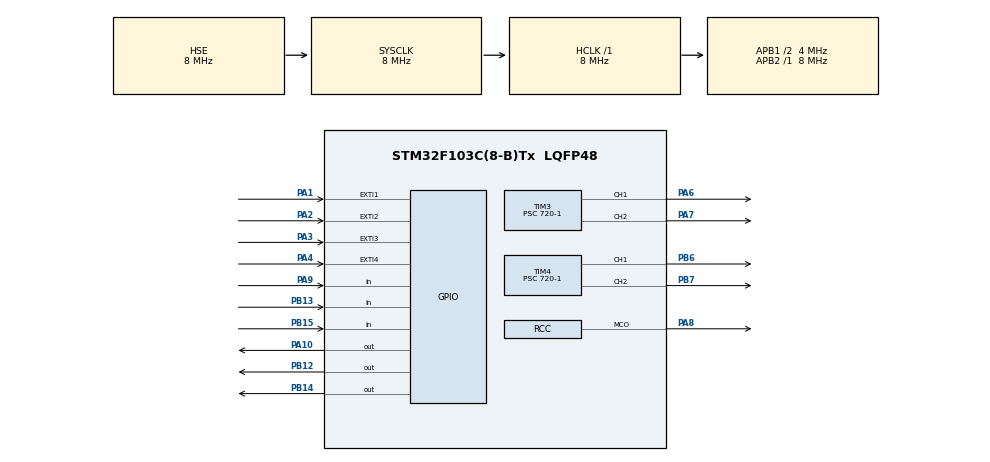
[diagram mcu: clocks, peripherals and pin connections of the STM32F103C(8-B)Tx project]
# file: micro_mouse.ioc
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Mcu.Family=STM32F1
Mcu.Name=STM32F103C(8-B)Tx
Mcu.Package=LQFP48
NVIC.EXTI1_IRQn=true\:0\:0\:false\:false\:true\:true\:true\:true
NVIC.EXTI2_IRQn=true\:0\:0\:false\:false\:true\:true\:true\:true
NVIC.EXTI3_IRQn=true\:0\:0\:false\:false\:true\:true\:true\:true
NVIC.EXTI4_IRQn=true\:0\:0\:false\:false\:true\:true\:true\:true
NVIC.PriorityGroup=NVIC_PRIORITYGROUP_4
PA1.GPIO_PuPd=GPIO_PULLUP
PA1.Signal=GPXTI1
PA10.Signal=GPIO_Output
PA13.Mode=Serial_Wire
PA13.Signal=SYS_JTMS-SWDIO
PA14.Mode=Serial_Wire
PA14.Signal=SYS_JTCK-SWCLK
PA2.GPIO_PuPd=GPIO_PULLUP
PA2.Signal=GPXTI2
PA3.GPIO_PuPd=GPIO_PULLUP
PA3.Signal=GPXTI3
PA4.GPIO_PuPd=GPIO_PULLUP
PA4.Signal=GPXTI4
PA6.Signal=S_TIM3_CH1
PA7.Signal=S_TIM3_CH2
PA8.Mode=Clock-out
PA8.Signal=RCC_MCO
PA9.Signal=GPIO_Input
PB12.Signal=GPIO_Output
PB13.Signal=GPIO_Input
PB14.Signal=GPIO_Output
PB15.Signal=GPIO_Input
PB6.Signal=S_TIM4_CH1
PB7.Signal=S_TIM4_CH2
PD0-OSC_IN.Mode=HSE-External-Oscillator
PD0-OSC_IN.Signal=RCC_OSC_IN
PD1-OSC_OUT.Mode=HSE-External-Oscillator
PD1-OSC_OUT.Signal=RCC_OSC_OUT
ProjectManager.HeapSize=0x200
ProjectManager.StackSize=0x400
ProjectManager.TargetToolchain=STM32CubeIDE
RCC.AHBFreq_Value=8000000
RCC.APB1CLKDivider=RCC_HCLK_DIV2
RCC.APB1Freq_Value=4000000
RCC.APB1TimFreq_Value=8000000
RCC.APB2Freq_Value=8000000
RCC.APB2TimFreq_Value=8000000
RCC.HCLKFreq_Value=8000000
RCC.PLLMUL=RCC_PLL_MUL9
RCC.PLLSourceVirtual=RCC_PLLSOURCE_HSE
RCC.RCC_MCOSource=RCC_MCO1SOURCE_PLLCLK
RCC.SYSCLKFreq_VALUE=8000000
RCC.SYSCLKSource=RCC_SYSCLKSOURCE_HSE
RCC.USBFreq_Value=72000000
SH.S_TIM3_CH1.0=TIM3_CH1,PWM Generation1 CH1
SH.S_TIM3_CH2.0=TIM3_CH2,PWM Generation2 CH2
SH.S_TIM4_CH1.0=TIM4_CH1,PWM Generation1 CH1
SH.S_TIM4_CH2.0=TIM4_CH2,PWM Generation2 CH2
TIM1.Prescaler=720-1
TIM2.Period=100
TIM2.Prescaler=72-1
TIM3.Channel-PWM\ Generation1\ CH1=TIM_CHANNEL_1
TIM3.Channel-PWM\ Generation2\ CH2=TIM_CHANNEL_2
TIM3.Period=1000-1
TIM3.Prescaler=720-1
TIM4.Channel-PWM\ Generation1\ CH1=TIM_CHANNEL_1
TIM4.Channel-PWM\ Generation2\ CH2=TIM_CHANNEL_2
TIM4.Period=1000-1
TIM4.Prescaler=720-1
VP_TIM1_VS_ClockSourceINT.Mode=Internal
VP_TIM2_VS_ClockSourceINT.Mode=Internal
VP_TIM3_VS_ClockSourceINT.Mode=Internal
VP_TIM4_VS_ClockSourceINT.Mode=Internal
board=custom

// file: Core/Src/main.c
/* USER CODE BEGIN Header */
/**
  ******************************************************************************
  * @file           : main.c
  * @brief          : Main program body
  ******************************************************************************
  * @attention
  *
  * Copyright (c) 2024 STMicroelectronics.
  * All rights reserved.
  *
  * This software is licensed under terms that can be found in the LICENSE file
  * in the root directory of this software component.
  * If no LICENSE file comes with this software, it is provided AS-IS.
  *
  ******************************************************************************
  */
/* USER CODE END Header */
#include "main.h"

/* USER CODE BEGIN PTD */

	float error;
	float previous_error;
	float P_part;
	float D_part;
	float I_part;
	float PID_value;

	float errorL;
	float errorR;
	float P_part_L;
	float P_part_R;
	float D_part_L;
	float D_part_R;
	float I_part_L;
	float I_part_R;
	float PID_valueR;
	float PID_valueL;
	float previous_errorR;
	float previous_errorL;

/* USER CODE END PTD */

/* USER CODE BEGIN PD */
#define TRIG_PIN GPIO_PIN_12
#define TRIG_PORT GPIOB
#define ECHO_PIN GPIO_PIN_13
#define ECHO_PORT GPIOB
#define TRIG_PIN_1 GPIO_PIN_10
#define TRIG_PORT_1 GPIOA
#define ECHO_PIN_1 GPIO_PIN_9
#define ECHO_PORT_1 GPIOA
#define TRIG_PIN_2 GPIO_PIN_14
#define TRIG_PORT_2 GPIOB
#define ECHO_PIN_2 GPIO_PIN_15
#define ECHO_PORT_2 GPIOB
#define		MAX_CNT			899
#define 	MIN_CNT			10
//#define ENCODER_PIN_1 GPIO_PIN_1
//#define ENCODER_PIN_1 GPIO_PIN_2
//#define ENCODER_PIN_2 GPIO_PIN_3
//#define ENCODER_PIN_2 GPIO_PIN_4
//#define ENCODER_PORT GPIOA

double 	v_desire=25;
double khoang_cach_giua =5;
double duty_base=1;
/* USER CODE END PD */

/* USER CODE BEGIN PM */
//void turn_right;
//void turn_left;
void Forward (float duty_right, float duty_left);
//void caculate_pid(PID_t *pid);
//void caculate_error( PID_t *pid);
//void caculate_error_encoder( PID_encoder_t *pid_encoder);
//void control_motor(PID_t *pid, PID_encoder_t *pid_encoder);
//void reset_pid(PID_t *pid);
void sensor_right();
void sensor_left();
void sensor_forward();
static void Set_duty(float duty, TIM_HandleTypeDef *htim, int channel);
/* USER CODE END PM */

TIM_HandleTypeDef htim1;
TIM_HandleTypeDef htim2;
TIM_HandleTypeDef htim3;
TIM_HandleTypeDef htim4;

/* USER CODE BEGIN PV */
float Kp;
float Kd;
float Ki;
uint32_t pMillis;
uint32_t Value1 = 0;
uint32_t Value2 = 0;
uint32_t Value3 = 0;
uint32_t Value4 = 0;
uint32_t Value5 = 0;
uint32_t Value6 = 0;
uint16_t Distance  = 0;
uint16_t Distance_1=0;// Distance_left
uint16_t Distance_2=0;// Distance_right
uint16_t Tim_example=0.01;//10ms
double van_toc_R;
double van_toc_L;
int count_R=0;
int count_L=0;
/* USER CODE END PV */

void SystemClock_Config(void);
static void MX_GPIO_Init(void);
static void MX_TIM2_Init(void);
static void MX_TIM3_Init(void);
static void MX_TIM4_Init(void);
static void MX_TIM1_Init(void);

/* USER CODE BEGIN 0 */
//reset pid
/*void reset_pid(PID_t *pid){
	pid->error=0;
	pid->previous_error=0;
	pid->P_part=0;
	pid->I_part=0;
	pid->D_part=0;
}*/
void sensor_right(){
	HAL_GPIO_WritePin(TRIG_PORT, TRIG_PIN, GPIO_PIN_SET);  // pull the TRIG pin HIGH
		      __HAL_TIM_SET_COUNTER(&htim1, 0);
		      while (__HAL_TIM_GET_COUNTER (&htim1) < 10);  // wait for 10 us
		      HAL_GPIO_WritePin(TRIG_PORT, TRIG_PIN, GPIO_PIN_RESET);  // pull the TRIG pin low

		      pMillis = HAL_GetTick(); // used this to avoid infinite while loop  (for timeout)
		      // wait for the echo pin to go high
		      while (!(HAL_GPIO_ReadPin (ECHO_PORT, ECHO_PIN)) && pMillis + 10 >  HAL_GetTick());
		      Value1 = __HAL_TIM_GET_COUNTER (&htim1);

		      pMillis = HAL_GetTick(); // used this to avoid infinite while loop (for timeout)
		      // wait for the echo pin to go low
		      while ((HAL_GPIO_ReadPin (ECHO_PORT, ECHO_PIN)) && pMillis + 50 > HAL_GetTick());
		      Value2 = __HAL_TIM_GET_COUNTER (&htim1);

		      Distance = (Value2-Value1)* 0.034/2;
		     // if ( Distance <= 12 ) led_right=1;
		      //else led_right=0;

}
void sensor_left(){
	HAL_GPIO_WritePin(TRIG_PORT_1, TRIG_PIN_1, GPIO_PIN_SET);  // pull the TRIG pin HIGH
		  	    __HAL_TIM_SET_COUNTER(&htim1, 0);
		  	    while (__HAL_TIM_GET_COUNTER (&htim1) < 10);  // wait for 10 us
		  	    HAL_GPIO_WritePin(TRIG_PORT_1, TRIG_PIN_1, GPIO_PIN_RESET);  // pull the TRIG pin low

		  	    pMillis = HAL_GetTick(); // used this to avoid infinite while loop  (for timeout)
		  	    // wait for the echo pin to go high
		  	    while (!(HAL_GPIO_ReadPin (ECHO_PORT_1, ECHO_PIN_1)) && pMillis + 10 >  HAL_GetTick());
		  	    Value3 = __HAL_TIM_GET_COUNTER (&htim1);

		  	    pMillis = HAL_GetTick(); // used this to avoid infinite while loop (for timeout)
		  	    // wait for the echo pin to go low
		  	    while ((HAL_GPIO_ReadPin (ECHO_PORT_1, ECHO_PIN_1)) && pMillis + 50 > HAL_GetTick());
		  	    Value4 = __HAL_TIM_GET_COUNTER (&htim1);

		  	    Distance_1 = (Value4-Value3)/2/29.412;
		  	   // if (Distance_1 <= 12) led_left=1;
		  	    //else led_left=0;
}
void sensor_forward(){
	 HAL_GPIO_WritePin(TRIG_PORT_2, TRIG_PIN_2, GPIO_PIN_SET);  // pull the TRIG pin HIGH
		  	  	  	    __HAL_TIM_SET_COUNTER(&htim1, 0);
		  	  	  	    while (__HAL_TIM_GET_COUNTER (&htim1) < 10);  // wait for 10 us
		  	  	  	    HAL_GPIO_WritePin(TRIG_PORT_2, TRIG_PIN_2, GPIO_PIN_RESET);  // pull the TRIG pin low

		  	  	  	    pMillis = HAL_GetTick(); // used this to avoid infinite while loop  (for timeout)
		  	  	  	    // wait for the echo pin to go high
		  	  	  	    while (!(HAL_GPIO_ReadPin (ECHO_PORT_2, ECHO_PIN_2)) && pMillis + 10 >  HAL_GetTick());
		  	  	  	    Value5 = __HAL_TIM_GET_COUNTER (&htim1);

		  	  	  	    pMillis = HAL_GetTick(); // used this to avoid infinite while loop (for timeout)
		  	  	  	    // wait for the echo pin to go low
		  	  	  	    while ((HAL_GPIO_ReadPin (ECHO_PORT_2, ECHO_PIN_2)) && pMillis + 50 > HAL_GetTick());
		  	  	  	    Value6 = __HAL_TIM_GET_COUNTER (&htim1);

		  	  	  	   Distance_2 = (Value6-Value5)/2/29.412;
		  	  	  	  // if (Distance_2 <= 12) led_front=1;
		  	  	  	   //else led_front=0;

}
//void caculate_error(PID_t *pid){}
void Init_tim_pwm(){
	HAL_TIM_PWM_Start(&htim3, TIM_CHANNEL_1);
	HAL_TIM_PWM_Start(&htim3, TIM_CHANNEL_2);
	HAL_TIM_PWM_Start(&htim4, TIM_CHANNEL_1);
	HAL_TIM_PWM_Start(&htim4, TIM_CHANNEL_2);
}
void Init_sensor_sound(){
	 HAL_GPIO_WritePin(GPIOB, TRIG_PIN_1, GPIO_PIN_RESET);
	  HAL_GPIO_WritePin(GPIOB, TRIG_PIN_2, GPIO_PIN_RESET);
	    HAL_GPIO_WritePin(TRIG_PORT, TRIG_PIN, GPIO_PIN_RESET);
}
static void Set_duty(float duty, TIM_HandleTypeDef *htim, int channel){
	if (channel == 1){
		htim->Instance->CCR1 =  (duty*MAX_CNT) + MIN_CNT;
	}
	if (channel == 2){
		htim->Instance->CCR2 =  (duty*MAX_CNT) + MIN_CNT;
	}
}

void Forward (float duty_right, float duty_left){
	Set_duty(0, &htim3, 1);
	Set_duty(duty_right, &htim3, 2);
	Set_duty(0, &htim4, 1);
	Set_duty(duty_left, &htim4, 2);
}
void stop (float duty_right, float duty_left){
	Set_duty(0, &htim3, 1);
	Set_duty(0, &htim3, 2);
	Set_duty(0, &htim4, 1);
	Set_duty(0, &htim4, 2);
}
void turn_right (float duty_right, float duty_left){
	Set_duty(0, &htim3, 1);
	Set_duty(duty_right, &htim3, 2);
	Set_duty(0, &htim4, 1);
	Set_duty(0, &htim4, 2);
}
void turn_left (float duty_right, float duty_left){
	Set_duty(0, &htim3, 1);
	Set_duty(0, &htim3, 2);
	Set_duty(0, &htim4, 1);
	Set_duty(duty_left, &htim4, 2);
}
void HAL_GPIO_EXTI_Callback(uint16_t GPIO_Pin){
	if(GPIO_Pin==GPIO_PIN_0){
		if(HAL_GPIO_ReadPin(GPIOA, GPIO_PIN_1)==0){
			count_R++;
		}
		if(HAL_GPIO_ReadPin(GPIOA, GPIO_PIN_1)==1){
					count_R--;
				}
	}
	if(GPIO_Pin==GPIO_PIN_1){
			if(HAL_GPIO_ReadPin(GPIOA, GPIO_PIN_0)==0){
				count_R--;
			}
			if(HAL_GPIO_ReadPin(GPIOA, GPIO_PIN_0)==1){
						count_R++;
					}
		}
	if(GPIO_Pin==GPIO_PIN_3){
			if(HAL_GPIO_ReadPin(GPIOA, GPIO_PIN_4)==0){
				count_L++;
			}
			if(HAL_GPIO_ReadPin(GPIOA, GPIO_PIN_4)==1){
						count_L--;
					}
		}
		if(GPIO_Pin==GPIO_PIN_4){
				if(HAL_GPIO_ReadPin(GPIOA, GPIO_PIN_3)==0){
					count_L--;
				}
				if(HAL_GPIO_ReadPin(GPIOA, GPIO_PIN_3)==1){
							count_L++;
						}
			}

}
void control_motor()
	{
		double motor_right=(PID_valueR+PID_value)/100;
		double motor_left=(PID_valueL-PID_value)/100;
		if(motor_right>duty_base){
			motor_right=1;
			motor_left=0;
		}
		if(motor_left>duty_base){
					motor_right=0;
					motor_left=1;
				}
		if(Distance_2<10&&Distance_1<10){
			Forward(motor_right, motor_left);
		}

		else if(Distance<5&&Distance_2>10){
			stop(motor_right, motor_left);
			HAL_Delay(50);
			turn_right(motor_right, motor_left);
		}
		else if(Distance<5&&Distance_1>10){
					stop(motor_right, motor_left);
					HAL_Delay(50);
					turn_left(motor_right, motor_left);
				}

	}
void HAL_TIM_PeriodElapsedCallback(TIM_HandleTypeDef *htim)
{
	if(htim->Instance==TIM1)
	{
		van_toc_R=(count_R/100)*3.14*6.5;
			van_toc_L=(count_L/100)*3.14*6.5;
			count_R=0;
			count_L=0;
		//void caculate_error( PID_t *pid){

		    if(Distance_1<10&&Distance_2<10){
		    	error=Distance_1-Distance_2;
		    }
		    else if(Distance_2>10){
		    	error=2;
		    }
		    else if(Distance_1>10){
		    	error=-2;
		   // }
previous_error=error;
		}
	//	void caculate_pid(PID_t *pid){
			P_part=Kp*error;
			D_part=Kd*(error-previous_error)/Tim_example;
			I_part=Ki*(error+previous_error)*Tim_example;
			PID_value=D_part+I_part+P_part;
		//}
		//void caculate_error_encoder( PID_encoder_t *pid_encoder){
				errorR=v_desire-van_toc_R;
				D_part_R=Kd*errorR;
				P_part_R=Kp*(errorR-previous_errorR)/Tim_example;
				I_part_R=Ki*(errorR+previous_errorR)*Tim_example*0.5;
				PID_valueR=D_part_R+I_part_R+P_part_R;

				errorR=v_desire-van_toc_L;
				D_part_L=Kd*errorL;
				P_part_L=Kp*(errorL-previous_errorL)/Tim_example;
				I_part_L=Ki*(errorL+previous_errorL)*Tim_example*0.5;
				PID_valueL=D_part_L+I_part_L+P_part_L;
			//}
				control_motor();

	}
}

/* USER CODE END 0 */

int main(void)
{

  /* MCU Configuration--------------------------------------------------------*/

  /* Reset of all peripherals, Initializes the Flash interface and the Systick. */
  HAL_Init();

  /* Configure the system clock */
  SystemClock_Config();

  /* Initialize all configured peripherals */
  MX_GPIO_Init();
  MX_TIM2_Init();
  MX_TIM3_Init();
  MX_TIM4_Init();
  MX_TIM1_Init();
  /* USER CODE BEGIN 2 */
Init_tim_pwm();
Init_sensor_sound();
HAL_TIM_Base_Start(&htim1);

  /* USER CODE END 2 */

  /* Infinite loop */
  while (1)
  {

  }
}

void SystemClock_Config(void)
{
  RCC_OscInitTypeDef RCC_OscInitStruct = {0};
  RCC_ClkInitTypeDef RCC_ClkInitStruct = {0};

  /** Initializes the RCC Oscillators according to the specified parameters
  * in the RCC_OscInitTypeDef structure.
  */
  RCC_OscInitStruct.OscillatorType = RCC_OSCILLATORTYPE_HSE;
  RCC_OscInitStruct.HSEState = RCC_HSE_ON;
  RCC_OscInitStruct.HSEPredivValue = RCC_HSE_PREDIV_DIV1;
  RCC_OscInitStruct.HSIState = RCC_HSI_ON;
  RCC_OscInitStruct.PLL.PLLState = RCC_PLL_ON;
  RCC_OscInitStruct.PLL.PLLSource = RCC_PLLSOURCE_HSE;
  RCC_OscInitStruct.PLL.PLLMUL = RCC_PLL_MUL9;
  if (HAL_RCC_OscConfig(&RCC_OscInitStruct) != HAL_OK)
  {
    Error_Handler();
  }

  /** Initializes the CPU, AHB and APB buses clocks
  */
  RCC_ClkInitStruct.ClockType = RCC_CLOCKTYPE_HCLK|RCC_CLOCKTYPE_SYSCLK
                              |RCC_CLOCKTYPE_PCLK1|RCC_CLOCKTYPE_PCLK2;
  RCC_ClkInitStruct.SYSCLKSource = RCC_SYSCLKSOURCE_HSE;
  RCC_ClkInitStruct.AHBCLKDivider = RCC_SYSCLK_DIV1;
  RCC_ClkInitStruct.APB1CLKDivider = RCC_HCLK_DIV2;
  RCC_ClkInitStruct.APB2CLKDivider = RCC_HCLK_DIV1;

  if (HAL_RCC_ClockConfig(&RCC_ClkInitStruct, FLASH_LATENCY_0) != HAL_OK)
  {
    Error_Handler();
  }
  HAL_RCC_MCOConfig(RCC_MCO, RCC_MCO1SOURCE_PLLCLK, RCC_MCODIV_1);
}

static void MX_TIM1_Init(void)
{

  TIM_ClockConfigTypeDef sClockSourceConfig = {0};
  TIM_MasterConfigTypeDef sMasterConfig = {0};

  htim1.Instance = TIM1;
  htim1.Init.Prescaler = 720-1;
  htim1.Init.CounterMode = TIM_COUNTERMODE_UP;
  htim1.Init.Period = 65535;
  htim1.Init.ClockDivision = TIM_CLOCKDIVISION_DIV1;
  htim1.Init.RepetitionCounter = 0;
  htim1.Init.AutoReloadPreload = TIM_AUTORELOAD_PRELOAD_DISABLE;
  if (HAL_TIM_Base_Init(&htim1) != HAL_OK)
  {
    Error_Handler();
  }
  sClockSourceConfig.ClockSource = TIM_CLOCKSOURCE_INTERNAL;
  if (HAL_TIM_ConfigClockSource(&htim1, &sClockSourceConfig) != HAL_OK)
  {
    Error_Handler();
  }
  sMasterConfig.MasterOutputTrigger = TIM_TRGO_RESET;
  sMasterConfig.MasterSlaveMode = TIM_MASTERSLAVEMODE_DISABLE;
  if (HAL_TIMEx_MasterConfigSynchronization(&htim1, &sMasterConfig) != HAL_OK)
  {
    Error_Handler();
  }

}

static void MX_TIM2_Init(void)
{

  TIM_ClockConfigTypeDef sClockSourceConfig = {0};
  TIM_MasterConfigTypeDef sMasterConfig = {0};

  htim2.Instance = TIM2;
  htim2.Init.Prescaler = 72-1;
  htim2.Init.CounterMode = TIM_COUNTERMODE_UP;
  htim2.Init.Period = 100;
  htim2.Init.ClockDivision = TIM_CLOCKDIVISION_DIV1;
  htim2.Init.AutoReloadPreload = TIM_AUTORELOAD_PRELOAD_DISABLE;
  if (HAL_TIM_Base_Init(&htim2) != HAL_OK)
  {
    Error_Handler();
  }
  sClockSourceConfig.ClockSource = TIM_CLOCKSOURCE_INTERNAL;
  if (HAL_TIM_ConfigClockSource(&htim2, &sClockSourceConfig) != HAL_OK)
  {
    Error_Handler();
  }
  sMasterConfig.MasterOutputTrigger = TIM_TRGO_RESET;
  sMasterConfig.MasterSlaveMode = TIM_MASTERSLAVEMODE_DISABLE;
  if (HAL_TIMEx_MasterConfigSynchronization(&htim2, &sMasterConfig) != HAL_OK)
  {
    Error_Handler();
  }

}

static void MX_TIM3_Init(void)
{

  TIM_ClockConfigTypeDef sClockSourceConfig = {0};
  TIM_MasterConfigTypeDef sMasterConfig = {0};
  TIM_OC_InitTypeDef sConfigOC = {0};

  htim3.Instance = TIM3;
  htim3.Init.Prescaler = 720-1;
  htim3.Init.CounterMode = TIM_COUNTERMODE_UP;
  htim3.Init.Period = 1000-1;
  htim3.Init.ClockDivision = TIM_CLOCKDIVISION_DIV1;
  htim3.Init.AutoReloadPreload = TIM_AUTORELOAD_PRELOAD_DISABLE;
  if (HAL_TIM_Base_Init(&htim3) != HAL_OK)
  {
    Error_Handler();
  }
  sClockSourceConfig.ClockSource = TIM_CLOCKSOURCE_INTERNAL;
  if (HAL_TIM_ConfigClockSource(&htim3, &sClockSourceConfig) != HAL_OK)
  {
    Error_Handler();
  }
  if (HAL_TIM_PWM_Init(&htim3) != HAL_OK)
  {
    Error_Handler();
  }
  sMasterConfig.MasterOutputTrigger = TIM_TRGO_RESET;
  sMasterConfig.MasterSlaveMode = TIM_MASTERSLAVEMODE_DISABLE;
  if (HAL_TIMEx_MasterConfigSynchronization(&htim3, &sMasterConfig) != HAL_OK)
  {
    Error_Handler();
  }
  sConfigOC.OCMode = TIM_OCMODE_PWM1;
  sConfigOC.Pulse = 0;
  sConfigOC.OCPolarity = TIM_OCPOLARITY_HIGH;
  sConfigOC.OCFastMode = TIM_OCFAST_DISABLE;
  if (HAL_TIM_PWM_ConfigChannel(&htim3, &sConfigOC, TIM_CHANNEL_1) != HAL_OK)
  {
    Error_Handler();
  }
  if (HAL_TIM_PWM_ConfigChannel(&htim3, &sConfigOC, TIM_CHANNEL_2) != HAL_OK)
  {
    Error_Handler();
  }
  HAL_TIM_MspPostInit(&htim3);

}

static void MX_TIM4_Init(void)
{

  TIM_ClockConfigTypeDef sClockSourceConfig = {0};
  TIM_MasterConfigTypeDef sMasterConfig = {0};
  TIM_OC_InitTypeDef sConfigOC = {0};

  htim4.Instance = TIM4;
  htim4.Init.Prescaler = 720-1;
  htim4.Init.CounterMode = TIM_COUNTERMODE_UP;
  htim4.Init.Period = 1000-1;
  htim4.Init.ClockDivision = TIM_CLOCKDIVISION_DIV1;
  htim4.Init.AutoReloadPreload = TIM_AUTORELOAD_PRELOAD_DISABLE;
  if (HAL_TIM_Base_Init(&htim4) != HAL_OK)
  {
    Error_Handler();
  }
  sClockSourceConfig.ClockSource = TIM_CLOCKSOURCE_INTERNAL;
  if (HAL_TIM_ConfigClockSource(&htim4, &sClockSourceConfig) != HAL_OK)
  {
    Error_Handler();
  }
  if (HAL_TIM_PWM_Init(&htim4) != HAL_OK)
  {
    Error_Handler();
  }
  sMasterConfig.MasterOutputTrigger = TIM_TRGO_RESET;
  sMasterConfig.MasterSlaveMode = TIM_MASTERSLAVEMODE_DISABLE;
  if (HAL_TIMEx_MasterConfigSynchronization(&htim4, &sMasterConfig) != HAL_OK)
  {
    Error_Handler();
  }
  sConfigOC.OCMode = TIM_OCMODE_PWM1;
  sConfigOC.Pulse = 0;
  sConfigOC.OCPolarity = TIM_OCPOLARITY_HIGH;
  sConfigOC.OCFastMode = TIM_OCFAST_DISABLE;
  if (HAL_TIM_PWM_ConfigChannel(&htim4, &sConfigOC, TIM_CHANNEL_1) != HAL_OK)
  {
    Error_Handler();
  }
  if (HAL_TIM_PWM_ConfigChannel(&htim4, &sConfigOC, TIM_CHANNEL_2) != HAL_OK)
  {
    Error_Handler();
  }
  HAL_TIM_MspPostInit(&htim4);

}

static void MX_GPIO_Init(void)
{
  GPIO_InitTypeDef GPIO_InitStruct = {0};

  /* GPIO Ports Clock Enable */
  __HAL_RCC_GPIOD_CLK_ENABLE();
  __HAL_RCC_GPIOA_CLK_ENABLE();
  __HAL_RCC_GPIOB_CLK_ENABLE();

  /*Configure GPIO pin Output Level */
  HAL_GPIO_WritePin(GPIOB, GPIO_PIN_12|GPIO_PIN_14, GPIO_PIN_RESET);

  /*Configure GPIO pin Output Level */
  HAL_GPIO_WritePin(GPIOA, GPIO_PIN_10, GPIO_PIN_RESET);

  /*Configure GPIO pins : PA1 PA2 PA3 PA4 */
  GPIO_InitStruct.Pin = GPIO_PIN_1|GPIO_PIN_2|GPIO_PIN_3|GPIO_PIN_4;
  GPIO_InitStruct.Mode = GPIO_MODE_IT_RISING;
  GPIO_InitStruct.Pull = GPIO_PULLUP;
  HAL_GPIO_Init(GPIOA, &GPIO_InitStruct);

  /*Configure GPIO pins : PB12 PB14 */
  GPIO_InitStruct.Pin = GPIO_PIN_12|GPIO_PIN_14;
  GPIO_InitStruct.Mode = GPIO_MODE_OUTPUT_PP;
  GPIO_InitStruct.Pull = GPIO_NOPULL;
  GPIO_InitStruct.Speed = GPIO_SPEED_FREQ_LOW;
  HAL_GPIO_Init(GPIOB, &GPIO_InitStruct);

  /*Configure GPIO pins : PB13 PB15 */
  GPIO_InitStruct.Pin = GPIO_PIN_13|GPIO_PIN_15;
  GPIO_InitStruct.Mode = GPIO_MODE_INPUT;
  GPIO_InitStruct.Pull = GPIO_NOPULL;
  HAL_GPIO_Init(GPIOB, &GPIO_InitStruct);

  /*Configure GPIO pin : PA8 */
  GPIO_InitStruct.Pin = GPIO_PIN_8;
  GPIO_InitStruct.Mode = GPIO_MODE_AF_PP;
  GPIO_InitStruct.Speed = GPIO_SPEED_FREQ_LOW;
  HAL_GPIO_Init(GPIOA, &GPIO_InitStruct);

  /*Configure GPIO pin : PA9 */
  GPIO_InitStruct.Pin = GPIO_PIN_9;
  GPIO_InitStruct.Mode = GPIO_MODE_INPUT;
  GPIO_InitStruct.Pull = GPIO_NOPULL;
  HAL_GPIO_Init(GPIOA, &GPIO_InitStruct);

  /*Configure GPIO pin : PA10 */
  GPIO_InitStruct.Pin = GPIO_PIN_10;
  GPIO_InitStruct.Mode = GPIO_MODE_OUTPUT_PP;
  GPIO_InitStruct.Pull = GPIO_NOPULL;
  GPIO_InitStruct.Speed = GPIO_SPEED_FREQ_LOW;
  HAL_GPIO_Init(GPIOA, &GPIO_InitStruct);

  /* EXTI interrupt init*/
  HAL_NVIC_SetPriority(EXTI1_IRQn, 0, 0);
  HAL_NVIC_EnableIRQ(EXTI1_IRQn);

  HAL_NVIC_SetPriority(EXTI2_IRQn, 0, 0);
  HAL_NVIC_EnableIRQ(EXTI2_IRQn);

  HAL_NVIC_SetPriority(EXTI3_IRQn, 0, 0);
  HAL_NVIC_EnableIRQ(EXTI3_IRQn);

  HAL_NVIC_SetPriority(EXTI4_IRQn, 0, 0);
  HAL_NVIC_EnableIRQ(EXTI4_IRQn);

}

void Error_Handler(void)
{
  __disable_irq();
  while (1)
  {
  }
}
